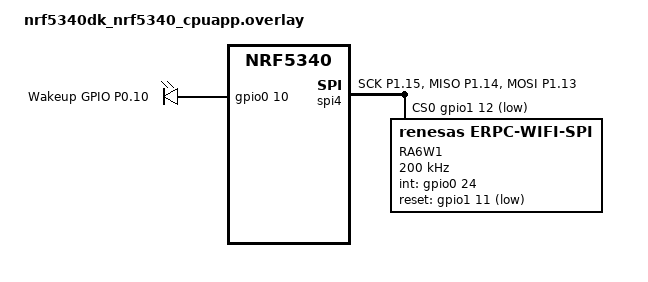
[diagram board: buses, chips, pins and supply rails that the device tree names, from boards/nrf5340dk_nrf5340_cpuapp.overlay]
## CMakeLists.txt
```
cmake_minimum_required(VERSION 3.20.0)

find_package(Zephyr)
project(pnet_multi_thread_https_zephyr_http)

target_sources(app PRIVATE
	src/pnet_multi_threaded.c
	src/https_get.c
)
```

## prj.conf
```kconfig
# Copyright (c) 2025 Renesas Electronics Corporation
# SPDX-License-Identifier: Apache-2.0

CONFIG_POSIX_API=y
CONFIG_EVENTS=y

# GPIO Configuration
CONFIG_GPIO=y

# Wi-Fi Configuration
CONFIG_WIFI=y
CONFIG_REBOOT=y
CONFIG_SHELL=y
CONFIG_SHELL_STACK_SIZE=10240

CONFIG_HEAP_MEM_POOL_SIZE=131072
CONFIG_INIT_STACKS=y
CONFIG_THREAD_STACK_INFO=y
CONFIG_STACK_CANARIES=y
CONFIG_SPIN_VALIDATE=n
# Synchronous getaddrinfo() uses this as its DNS query timeout. The default
# (2000 ms) is too short for a DPM cold-wake + eRPC/SPI + network round-trip
# (~2.4 s), which cancels the in-flight query (DNS_EAI_CANCELED = -101) just
# before the reply arrives. Give it enough budget to cover the cold wake.
CONFIG_NET_SOCKETS_DNS_TIMEOUT=10000
# Retry within that budget instead of a single long attempt.
CONFIG_NET_SOCKETS_DNS_BACKOFF_INTERVAL=5000
 
# Network Configuration
CONFIG_NETWORKING=y
CONFIG_NET_NATIVE=y
CONFIG_NET_IPV4=y
CONFIG_NET_IPV6=n
CONFIG_NET_TCP=y
CONFIG_NET_DHCPV4=y
CONFIG_DNS_RESOLVER=y
CONFIG_NET_CONFIG_SETTINGS=y
CONFIG_NET_CONFIG_AUTO_INIT=n

# Network management
CONFIG_NET_MGMT=y
CONFIG_NET_MGMT_EVENT=y
CONFIG_NET_MGMT_EVENT_INFO=y
CONFIG_NET_MGMT_EVENT_QUEUE_SIZE=10
CONFIG_NET_MGMT_EVENT_STACK_SIZE=4096
CONFIG_NET_CONNECTION_MANAGER=y

CONFIG_MAIN_STACK_SIZE=10240
CONFIG_SYSTEM_WORKQUEUE_STACK_SIZE=10240
CONFIG_WIFI_ERPC_WIFI_WORKQ_STACK_SIZE=8192
CONFIG_WIFI_ERPC_WIFI_SERVER_THREAD_STACK_SIZE=8192
CONFIG_NET_SOCKETS_SERVICE_STACK_SIZE=4096

# Network buffers
CONFIG_NET_PKT_RX_COUNT=8
CONFIG_NET_PKT_TX_COUNT=8

# L2 drivers
CONFIG_NET_L2_ETHERNET=y
CONFIG_NET_L2_WIFI_MGMT=y

# LOG — immediate mode has no buffer/thread so LOG_BUFFER_SIZE
# and LOG_PROCESS_THREAD_STACK_SIZE do not exist here.
# NET/SOCKET/KERNEL kept at WRN to avoid flooding UART and
# hiding the poll-task printks that appear before the crash.
CONFIG_LOG=y
CONFIG_LOG_MODE_IMMEDIATE=n
CONFIG_NET_LOG=n
CONFIG_WIFI_LOG_LEVEL_DBG=n
CONFIG_NET_SOCKETS_LOG_LEVEL_DBG=n
CONFIG_NET_L2_WIFI_MGMT_LOG_LEVEL_DBG=n
CONFIG_KERNEL_LOG_LEVEL_WRN=y
CONFIG_THREAD_LOCAL_STORAGE=n

# HTTPS bring-up: driver at INF. mbedTLS stays at ERR because LOG_MODE_IMMEDIATE
# makes every DBG hexdump line a synchronous UART write from the TLS thread,
# which stretched a working handshake to 21 s and tripped the HTTP timeout.
# Set MBEDTLS_DEBUG=y + MBEDTLS_LOG_LEVEL_DBG=y only to capture an alert code.
CONFIG_WIFI_LOG_LEVEL_INF=n
CONFIG_MBEDTLS_LOG_LEVEL_ERR=n
# One UART backend is enough; the shell backend duplicated every line.
CONFIG_SHELL_LOG_BACKEND=n
# ===========================================================
# MPU / FAULT DEBUG — verified buildable on nRF5340 Zephyr 4.2
# ===========================================================

# Full register + MPU fault reason on crash
CONFIG_FAULT_DUMP=2

# Hardware MPU guard page at stack bottom (catches stack overflow)
# NOTE: STACK_SENTINEL conflicts with MPU_STACK_GUARD — do not add it
CONFIG_MPU_STACK_GUARD=y
CONFIG_HW_STACK_PROTECTION=y

# Thread name + stack bounds printed in the fault dump
CONFIG_THREAD_NAME=y
CONFIG_THREAD_MONITOR=y
CONFIG_DEBUG_THREAD_INFO=y

# Catch NULL / bad-state in kernel before it reaches the MPU
CONFIG_ASSERT=y
CONFIG_ASSERT_LEVEL=2
CONFIG_ASSERT_VERBOSE=y

# Keep debug symbols — required for addr2line to give file+line
# REMOVE this after the bug is fixed (increases binary size)
# CONFIG_DEBUG_OPTIMIZATIONS=y

# Heap stats — reveals if heap returned NULL causing the deref
CONFIG_SYS_HEAP_RUNTIME_STATS=y

# NOTE: EXCEPTION_STACK_TRACE, ARM_UNWIND, COREDUMP are all
# unavailable in Zephyr 4.2.99 for nRF5340. Use addr2line instead
# (see instructions below the conf file).

CONFIG_NET_ZPERF=y
CONFIG_NET_ZPERF_SERVER=y
CONFIG_NET_ZPERF_MAX_PACKET_SIZE=2048
CONFIG_NET_UDP=y
CONFIG_NET_SOCKETS=y
CONFIG_NET_SHELL=y
CONFIG_ZVFS_POLL_MAX=10
CONFIG_ZVFS_OPEN_MAX=12

# MQTT / TLS
CONFIG_MQTT_LIB=y
CONFIG_MQTT_LIB_TLS=y
CONFIG_TLS_CREDENTIALS=y
CONFIG_NET_SOCKETS_SOCKOPT_TLS=y
CONFIG_MBEDTLS=y
 
# PEM certificate support
CONFIG_MBEDTLS_PEM_CERTIFICATE_FORMAT=y
 
# mbedTLS heap — must be large enough for ECDHE-ECDSA TLS handshake (~16 KB
# minimum; 32 KB gives comfortable headroom for certificate chain parsing).
CONFIG_MBEDTLS_ENABLE_HEAP=y
CONFIG_MBEDTLS_HEAP_SIZE=32768
 
# EC / ECDSA cipher suite support
# CA, broker cert, client cert and private key are all EC P-256 (ECDSA).
CONFIG_MBEDTLS_ECP_C=y
CONFIG_MBEDTLS_ECDH_C=y
CONFIG_MBEDTLS_ECDSA_C=y
CONFIG_MBEDTLS_ECP_DP_SECP256R1_ENABLED=y
CONFIG_MBEDTLS_KEY_EXCHANGE_ECDHE_ECDSA_ENABLED=y
# The HTTPS provisioning server may present an RSA certificate. Without these
# the only compiled-in suite is ECDHE-ECDSA and the server aborts with alert 40.
CONFIG_MBEDTLS_RSA_C=y
CONFIG_MBEDTLS_KEY_EXCHANGE_ECDHE_RSA_ENABLED=y
# Common cipher / hash primitives
CONFIG_MBEDTLS_CIPHER_AES_ENABLED=y
CONFIG_MBEDTLS_CIPHER_GCM_ENABLED=y
CONFIG_MBEDTLS_SHA256=y
CONFIG_MBEDTLS_SHA384=y
# TLS record buffer — 2 KB is sufficient for MQTT payloads over TLS.
CONFIG_MBEDTLS_SSL_MAX_CONTENT_LEN=2048

CONFIG_TEST_RANDOM_GENERATOR=y
# CONFIG_MAIN_STACK_SIZE=4096
# CONFIG_MAIN_STACK_SIZE=6144
CONFIG_MAIN_STACK_SIZE=4096

CONFIG_SHELL=y
CONFIG_SERIAL=y
CONFIG_CONSOLE=y
CONFIG_UART_CONSOLE=y
CONFIG_PRINTK=y
CONFIG_LOG=y
CONFIG_LOG_BACKEND_UART=y
CONFIG_LOG_MODE_IMMEDIATE=y

# CONFIG_SHELL_STACK_SIZE=6144
CONFIG_SHELL_STACK_SIZE=5120

# RAM tuning overrides for nrf52840 board only
# CONFIG_SYSTEM_WORKQUEUE_STACK_SIZE=6144
CONFIG_SYSTEM_WORKQUEUE_STACK_SIZE=4096
CONFIG_WIFI_ERPC_WIFI_WORKQ_STACK_SIZE=6144
CONFIG_WIFI_ERPC_WIFI_SERVER_THREAD_STACK_SIZE=6144
CONFIG_MBEDTLS_HEAP_SIZE=16384
CONFIG_HEAP_MEM_POOL_SIZE=32768


# # Enable Device PM to suspend Nordic SPIM EasyDMA during DPM
# CONFIG_PM_DEVICE=y
# CONFIG_PM_DEVICE_RUNTIME=y

CONFIG_HTTP_CLIENT=y
CONFIG_ERPC_DATA_PATH=y
CONFIG_TEST_RANDOM_GENERATOR=y
```

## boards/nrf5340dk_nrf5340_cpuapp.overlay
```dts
/*
 * Copyright (c) 2025 Renesas Electronics Corporation
 *
 * SPDX-License-Identifier: Apache-2.0
 */

/delete-node/ &qspi;
/delete-node/ &uart1;

/* Disable NFC so P0.09 and P0.10 can be used as GPIOs */
&nfct {
    status = "disabled";
};

/ {
    chosen {
        /delete-property/ zephyr,wifi;
	};

    aliases {
        wakeup-gpio = &gpio_wakeup;
    };

    gpio_wakeup {
        compatible = "gpio-leds";
        gpio_wakeup: wakeup_gpio {
           gpios = <&gpio0 10 (GPIO_ACTIVE_HIGH | GPIO_PULL_DOWN)>;
            label = "Wakeup GPIO P0.10";
        };
    };
};

&pinctrl {
    spi4_default: spi4_default {
        group1 {
            psels = <NRF_PSEL(SPIM_SCK, 1, 15)>,
                    <NRF_PSEL(SPIM_MISO, 1, 14)>,
                    <NRF_PSEL(SPIM_MOSI, 1, 13)>;
       
        };
    };
    spi4_sleep: spi4_sleep {
        group1 {
            psels = <NRF_PSEL(SPIM_SCK, 1, 15)>,
                    <NRF_PSEL(SPIM_MISO, 1, 14)>,
                    <NRF_PSEL(SPIM_MOSI, 1, 13)>;
           
            low-power-enable;
        };
    };
};

&spi4 {
    compatible = "nordic,nrf-spim";
    status = "okay";
    cs-gpios = <&gpio1 12 (GPIO_ACTIVE_LOW)>;
 
    pinctrl-0 = <&spi4_default>;
    pinctrl-1 = <&spi4_sleep>;
    pinctrl-names = "default", "sleep";
 
    ra6w1_erpc_wifi: ra6w1_erpc_wifi@0 {
        compatible = "renesas,erpc-wifi-spi";
        reg = <0>;
        label = "RA6W1";
        spi-max-frequency = <200000>;
        boot-duration-ms = <2000>;
        int-gpios = <&gpio0 24 (GPIO_ACTIVE_HIGH | GPIO_PULL_DOWN)>;
        reset-gpios = <&gpio1 11 GPIO_ACTIVE_LOW>;
        status = "okay";
    };
};
```

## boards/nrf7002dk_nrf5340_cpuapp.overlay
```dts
/*
 * Copyright (c) 2025 Renesas Electronics Corporation
 *
 * SPDX-License-Identifier: Apache-2.0
 */

/delete-node/ &qspi;
/delete-node/ &uart1;

/ {
    chosen {
        /delete-property/ zephyr,wifi;
	};
};

&pinctrl {
    spi4_default: spi4_default {
        group1 {
            psels = <NRF_PSEL(SPIM_SCK, 0, 17)>,
                    <NRF_PSEL(SPIM_MISO, 0, 14)>,
                    <NRF_PSEL(SPIM_MOSI, 0, 13)>;
        };
    };
    spi4_sleep: spi4_sleep {
        group1 {
            psels = <NRF_PSEL(SPIM_SCK, 0, 17)>,
                    <NRF_PSEL(SPIM_MISO, 0, 14)>,
                    <NRF_PSEL(SPIM_MOSI, 0, 13)>;
                    low-power-enable;
        };
    };
};

&spi4 {
    compatible = "nordic,nrf-spim";
    status = "okay";
    cs-gpios = <&gpio0 15 (GPIO_ACTIVE_LOW)>;
 
    pinctrl-0 = <&spi4_default>;
    pinctrl-1 = <&spi4_sleep>;
    pinctrl-names = "default", "sleep";
 
    ra6w1_erpc_wifi: ra6w1_erpc_wifi@0 {
        compatible = "renesas,erpc-wifi-spi";
        reg = <0>;
        label = "RA6W1";
        spi-max-frequency = <200000>;
        boot-duration-ms = <2000>;
        int-gpios = <&gpio0 9 GPIO_ACTIVE_LOW>;
        reset-gpios = <&gpio0 16 GPIO_ACTIVE_LOW>;
        status = "okay";
    };
};
```

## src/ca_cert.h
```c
#ifndef CA_CERT_H
#define CA_CERT_H

/* CA Certificate - MyLocalCA */
const unsigned char ca_pem[] = {
    0x2d, 0x2d, 0x2d, 0x2d, 0x2d, 0x42, 0x45, 0x47, 0x49, 0x4e, 0x20, 0x43,
    0x45, 0x52, 0x54, 0x49, 0x46, 0x49, 0x43, 0x41, 0x54, 0x45, 0x2d, 0x2d,
    0x2d, 0x2d, 0x2d, 0x0a, 0x4d, 0x49, 0x49, 0x44, 0x43, 0x54, 0x43, 0x43,
    0x41, 0x66, 0x47, 0x67, 0x41, 0x77, 0x49, 0x42, 0x41, 0x67, 0x49, 0x55,
    0x5a, 0x43, 0x6e, 0x58, 0x42, 0x74, 0x68, 0x6e, 0x36, 0x6b, 0x56, 0x69,
    0x53, 0x4a, 0x43, 0x7a, 0x4a, 0x34, 0x58, 0x39, 0x6d, 0x58, 0x33, 0x75,
    0x41, 0x56, 0x73, 0x77, 0x44, 0x51, 0x59, 0x4a, 0x4b, 0x6f, 0x5a, 0x49,
    0x68, 0x76, 0x63, 0x4e, 0x41, 0x51, 0x45, 0x4c, 0x0a, 0x42, 0x51, 0x41,
    0x77, 0x46, 0x44, 0x45, 0x53, 0x4d, 0x42, 0x41, 0x47, 0x41, 0x31, 0x55,
    0x45, 0x41, 0x77, 0x77, 0x4a, 0x54, 0x57, 0x46, 0x72, 0x61, 0x57, 0x56,
    0x7a, 0x49, 0x46, 0x4a, 0x68, 0x62, 0x6d, 0x52, 0x76, 0x4d, 0x42, 0x34,
    0x58, 0x44, 0x54, 0x49, 0x79, 0x4d, 0x54, 0x63, 0x77, 0x4d, 0x6a, 0x41,
    0x75, 0x4d, 0x6a, 0x63, 0x78, 0x4f, 0x43, 0x38, 0x35, 0x4d, 0x54, 0x49,
    0x78, 0x4f, 0x6a, 0x51, 0x30, 0x4f, 0x6a, 0x41, 0x77, 0x0a, 0x4d, 0x7a,
    0x63, 0x78, 0x4d, 0x6c, 0x39, 0x59, 0x45, 0x69, 0x4d, 0x77, 0x49, 0x69,
    0x42, 0x44, 0x41, 0x4e, 0x42, 0x67, 0x6b, 0x71, 0x68, 0x6b, 0x69, 0x47,
    0x39, 0x77, 0x30, 0x42, 0x41, 0x51, 0x45, 0x46, 0x41, 0x41, 0x4f, 0x43,
    0x41, 0x51, 0x38, 0x41, 0x4d, 0x49, 0x49, 0x42, 0x43, 0x67, 0x4b, 0x43,
    0x41, 0x51, 0x45, 0x41, 0x74, 0x6b, 0x35, 0x44, 0x57, 0x4c, 0x72, 0x42,
    0x55, 0x37, 0x65, 0x52, 0x65, 0x4a, 0x62, 0x2f, 0x68, 0x4a, 0x6f, 0x33,
    0x0a, 0x2b, 0x55, 0x49, 0x7a, 0x42, 0x46, 0x37, 0x73, 0x46, 0x34, 0x46,
    0x55, 0x79, 0x71, 0x6c, 0x6a, 0x55, 0x43, 0x62, 0x59, 0x61, 0x54, 0x6d,
    0x4e, 0x5a, 0x52, 0x2b, 0x56, 0x63, 0x6a, 0x4d, 0x63, 0x59, 0x4c, 0x43,
    0x6a, 0x6a, 0x6f, 0x50, 0x6f, 0x68, 0x73, 0x62, 0x37, 0x42, 0x63, 0x63,
    0x4e, 0x74, 0x6e, 0x4c, 0x73, 0x58, 0x55, 0x6c, 0x33, 0x46, 0x51, 0x50,
    0x33, 0x48, 0x37, 0x5a, 0x77, 0x79, 0x6b, 0x63, 0x6e, 0x38, 0x6a, 0x33,
    0x55, 0x30, 0x66, 0x4b, 0x32, 0x72, 0x59, 0x61, 0x5a, 0x69, 0x4c, 0x32,
    0x41, 0x2b, 0x69, 0x7a, 0x4a, 0x0a, 0x75, 0x72, 0x6a, 0x2b, 0x62, 0x38,
    0x52, 0x45, 0x48, 0x6f, 0x47, 0x38, 0x5a, 0x69, 0x57, 0x4d, 0x77, 0x6a,
    0x42, 0x4d, 0x45, 0x42, 0x77, 0x46, 0x4d, 0x70, 0x49, 0x75, 0x4d, 0x36,
    0x33, 0x5a, 0x35, 0x2b, 0x31, 0x30, 0x6f, 0x65, 0x4b, 0x30, 0x2b, 0x36,
    0x7a, 0x55, 0x62, 0x4c, 0x32, 0x65, 0x74, 0x48, 0x34, 0x71, 0x38, 0x47,
    0x42, 0x57, 0x75, 0x47, 0x34, 0x5a, 0x6c, 0x73, 0x56, 0x73, 0x45, 0x57,
    0x49, 0x30, 0x64, 0x64, 0x4b, 0x74, 0x72, 0x5a, 0x5a, 0x4f, 0x65, 0x4e,
    0x64, 0x34, 0x56, 0x68, 0x6d, 0x48, 0x73, 0x52, 0x4b, 0x6e, 0x39, 0x47,
    0x34, 0x48, 0x71, 0x36, 0x59, 0x74, 0x63, 0x4f, 0x76, 0x67, 0x61, 0x70,
    0x33, 0x58, 0x64, 0x43, 0x31, 0x53, 0x6c, 0x6d, 0x6e, 0x47, 0x4c, 0x62,
    0x4f, 0x4a, 0x66, 0x4a, 0x4f, 0x74, 0x4e, 0x4e, 0x2f, 0x53, 0x43, 0x5a,
    0x68, 0x6a, 0x0a, 0x51, 0x4a, 0x6b, 0x55, 0x49, 0x54, 0x64, 0x32, 0x2b,
    0x72, 0x31, 0x44, 0x6b, 0x49, 0x32, 0x33, 0x43, 0x4f, 0x71, 0x6c, 0x31,
    0x46, 0x6e, 0x4d, 0x70, 0x56, 0x34, 0x75, 0x51, 0x79, 0x32, 0x43, 0x56,
    0x39, 0x51, 0x78, 0x36, 0x6e, 0x72, 0x38, 0x49, 0x74, 0x76, 0x6b, 0x45,
    0x50, 0x5a, 0x7a, 0x74, 0x79, 0x35, 0x58, 0x59, 0x6d, 0x33, 0x34, 0x32,
    0x6e, 0x2f, 0x61, 0x58, 0x61, 0x61, 0x42, 0x30, 0x4a, 0x65, 0x64, 0x57,
    0x34, 0x4d, 0x6b, 0x6d, 0x57, 0x51, 0x6e, 0x68, 0x73, 0x6b, 0x57, 0x63,
    0x4a, 0x51, 0x47, 0x37, 0x6d, 0x63, 0x7a, 0x6f, 0x58, 0x78, 0x46, 0x74,
    0x74, 0x64, 0x56, 0x50, 0x38, 0x71, 0x37, 0x68, 0x46, 0x65, 0x33, 0x44,
    0x51, 0x49, 0x44, 0x41, 0x51, 0x41, 0x42, 0x6f, 0x31, 0x4d, 0x77, 0x55,
    0x51, 0x59, 0x44, 0x56, 0x52, 0x30, 0x4f, 0x45, 0x46, 0x67, 0x51, 0x55,
    0x4f, 0x66, 0x70, 0x63, 0x39, 0x4d, 0x6a, 0x50, 0x48, 0x39, 0x4e, 0x30,
    0x0a, 0x41, 0x52, 0x54, 0x59, 0x73, 0x41, 0x63, 0x49, 0x34, 0x46, 0x55,
    0x68, 0x6f, 0x65, 0x77, 0x77, 0x48, 0x77, 0x59, 0x44, 0x56, 0x52, 0x30,
    0x6a, 0x42, 0x42, 0x67, 0x77, 0x46, 0x6f, 0x41, 0x55, 0x4f, 0x66, 0x70,
    0x63, 0x39, 0x4d, 0x6a, 0x50, 0x48, 0x39, 0x4e, 0x30, 0x41, 0x52, 0x54,
    0x59, 0x73, 0x41, 0x63, 0x49, 0x34, 0x46, 0x55, 0x68, 0x6f, 0x65, 0x77,
    0x77, 0x44, 0x77, 0x59, 0x44, 0x56, 0x52, 0x30, 0x54, 0x41, 0x51, 0x48,
    0x2f, 0x42, 0x41, 0x55, 0x77, 0x41, 0x77, 0x45, 0x42, 0x2f, 0x7a, 0x41,
    0x4e, 0x42, 0x67, 0x6b, 0x71, 0x68, 0x6b, 0x69, 0x47, 0x39, 0x77, 0x30,
    0x42, 0x41, 0x51, 0x73, 0x46, 0x41, 0x41, 0x4f, 0x43, 0x41, 0x51, 0x45,
    0x41, 0x43, 0x73, 0x44, 0x77, 0x6f, 0x50, 0x2b, 0x54, 0x72, 0x4d, 0x6c,
    0x54, 0x7a, 0x6c, 0x69, 0x37, 0x63, 0x41, 0x6d, 0x75, 0x33, 0x65, 0x67,
    0x6a, 0x6b, 0x50, 0x41, 0x35, 0x59, 0x4e, 0x4b, 0x54, 0x32, 0x61, 0x5a,
    0x4e, 0x6c, 0x58, 0x79, 0x64, 0x77, 0x61, 0x34, 0x62, 0x4c, 0x68, 0x76,
    0x61, 0x73, 0x30, 0x33, 0x4c, 0x56, 0x75, 0x58, 0x75, 0x52, 0x47, 0x6c,
    0x46, 0x61, 0x6f, 0x56, 0x6c, 0x51, 0x58, 0x75, 0x68, 0x6c, 0x56, 0x6e,
    0x0a, 0x46, 0x5a, 0x44, 0x6d, 0x7a, 0x79, 0x48, 0x4d, 0x76, 0x65, 0x68,
    0x74, 0x71, 0x6b, 0x56, 0x73, 0x79, 0x33, 0x7a, 0x79, 0x38, 0x5a, 0x42,
    0x4e, 0x38, 0x4c, 0x6f, 0x57, 0x5a, 0x54, 0x2f, 0x43, 0x34, 0x62, 0x38,
    0x79, 0x54, 0x35, 0x4d, 0x6b, 0x67, 0x41, 0x55, 0x76, 0x2f, 0x56, 0x39,
    0x36, 0x57, 0x4c, 0x59, 0x66, 0x6d, 0x77, 0x2f, 0x76, 0x41, 0x43, 0x76,
    0x38, 0x6b, 0x7a, 0x36, 0x44, 0x71, 0x6a, 0x6f, 0x37, 0x50, 0x48, 0x57,
    0x68, 0x72, 0x54, 0x7a, 0x50, 0x48, 0x48, 0x70, 0x39, 0x6b, 0x79, 0x55,
    0x78, 0x78, 0x68, 0x32, 0x77, 0x52, 0x61, 0x32, 0x72, 0x35, 0x43, 0x76,
    0x58, 0x47, 0x32, 0x48, 0x68, 0x48, 0x37, 0x30, 0x39, 0x36, 0x4b, 0x34,
    0x4f, 0x4d, 0x34, 0x4f, 0x2b, 0x57, 0x73, 0x67, 0x30, 0x67, 0x4d, 0x41,
    0x63, 0x76, 0x78, 0x50, 0x70, 0x53, 0x74, 0x74, 0x6e, 0x4d, 0x72, 0x34,
    0x74, 0x4a, 0x49, 0x39, 0x38, 0x6e, 0x67, 0x42, 0x48, 0x39, 0x75, 0x34,
    0x50, 0x4f, 0x7a, 0x6f, 0x54, 0x70, 0x57, 0x33, 0x7a, 0x78, 0x66, 0x78,
    0x72, 0x61, 0x55, 0x4a, 0x6c, 0x69, 0x46, 0x51, 0x2f, 0x77, 0x32, 0x43,
    0x55, 0x4c, 0x31, 0x2b, 0x55, 0x4c, 0x4b, 0x55, 0x73, 0x6d, 0x6b, 0x75,
    0x35, 0x36, 0x4b, 0x52, 0x43, 0x42, 0x4d, 0x45, 0x39, 0x68, 0x0a, 0x53,
    0x4f, 0x6d, 0x77, 0x6c, 0x68, 0x59, 0x6f, 0x36, 0x7a, 0x62, 0x34, 0x30,
    0x45, 0x2b, 0x43, 0x58, 0x47, 0x4f, 0x47, 0x52, 0x4e, 0x4c, 0x66, 0x49,
    0x72, 0x76, 0x52, 0x32, 0x75, 0x64, 0x65, 0x6b, 0x43, 0x42, 0x39, 0x66,
    0x45, 0x73, 0x36, 0x63, 0x76, 0x6b, 0x59, 0x76, 0x78, 0x7a, 0x6b, 0x71,
    0x6c, 0x63, 0x36, 0x71, 0x6f, 0x37, 0x63, 0x57, 0x2f, 0x4e, 0x6d, 0x64,
    0x56, 0x61, 0x57, 0x6f, 0x31, 0x4c, 0x2f, 0x64, 0x57, 0x69, 0x73, 0x39,
    0x4e, 0x70, 0x56, 0x5a, 0x72, 0x59, 0x2f, 0x6a, 0x67, 0x3d, 0x3d, 0x0a,
    0x2d, 0x2d, 0x2d, 0x2d, 0x2d, 0x45, 0x4e, 0x44, 0x20, 0x43, 0x45, 0x52,
    0x54, 0x49, 0x46, 0x49, 0x43, 0x41, 0x54, 0x45, 0x2d, 0x2d, 0x2d, 0x2d,
    0x2d, 0x0a
};
const size_t ca_pem_len = sizeof(ca_pem);

/* Server Certificate */
const unsigned char client_cert_pem[] = {
    0x2d, 0x2d, 0x2d, 0x2d, 0x2d, 0x42, 0x45, 0x47, 0x49, 0x4e, 0x20, 0x43,
    0x45, 0x52, 0x54, 0x49, 0x46, 0x49, 0x43, 0x41, 0x54, 0x45, 0x2d, 0x2d,
    0x2d, 0x2d, 0x2d, 0x0a, 0x4d, 0x49, 0x49, 0x43, 0x2f, 0x54, 0x43, 0x43,
    0x41, 0x65, 0x57, 0x67, 0x41, 0x77, 0x49, 0x42, 0x41, 0x67, 0x49, 0x55,
    0x59, 0x6d, 0x4d, 0x6c, 0x6b, 0x58, 0x66, 0x2b, 0x71, 0x6e, 0x47, 0x33,
    0x58, 0x6b, 0x72, 0x2f, 0x41, 0x33, 0x6c, 0x70, 0x7a, 0x66, 0x43, 0x66,
    0x6f, 0x64, 0x63, 0x77, 0x44, 0x51, 0x59, 0x4a, 0x4b, 0x6f, 0x5a, 0x49,
    0x68, 0x76, 0x63, 0x4e, 0x41, 0x51, 0x45, 0x4c, 0x0a, 0x42, 0x51, 0x41,
    0x77, 0x46, 0x44, 0x45, 0x53, 0x4d, 0x42, 0x41, 0x47, 0x41, 0x31, 0x55,
    0x45, 0x41, 0x77, 0x77, 0x4a, 0x54, 0x57, 0x46, 0x72, 0x61, 0x57, 0x56,
    0x7a, 0x49, 0x46, 0x4a, 0x68, 0x62, 0x6d, 0x52, 0x76, 0x4d, 0x42, 0x34,
    0x58, 0x44, 0x54, 0x49, 0x79, 0x4d, 0x54, 0x63, 0x77, 0x4d, 0x6a, 0x45,
    0x75, 0x4d, 0x6a, 0x63, 0x78, 0x4f, 0x43, 0x38, 0x35, 0x4d, 0x54, 0x49,
    0x78, 0x4f, 0x6a, 0x51, 0x30, 0x4f, 0x6a, 0x41, 0x77, 0x0a, 0x4d, 0x7a,
    0x63, 0x78, 0x4d, 0x6c, 0x39, 0x59, 0x45, 0x69, 0x4d, 0x77, 0x49, 0x69,
    0x42, 0x44, 0x41, 0x4e, 0x42, 0x67, 0x6b, 0x71, 0x68, 0x6b, 0x69, 0x47,
    0x39, 0x77, 0x30, 0x42, 0x41, 0x51, 0x45, 0x46, 0x41, 0x41, 0x4f, 0x43,
    0x41, 0x51, 0x38, 0x41, 0x4d, 0x49, 0x49, 0x42, 0x43, 0x67, 0x4b, 0x43,
    0x41, 0x51, 0x45, 0x41, 0x6f, 0x6a, 0x5a, 0x78, 0x59, 0x66, 0x2f, 0x2f,
    0x47, 0x42, 0x30, 0x2b, 0x51, 0x73, 0x36, 0x47, 0x72, 0x6e, 0x75, 0x68,
    0x75, 0x35, 0x57, 0x63, 0x79, 0x49, 0x38, 0x41, 0x4f, 0x72, 0x41, 0x41,
    0x53, 0x59, 0x73, 0x57, 0x55, 0x7a, 0x73, 0x30, 0x30, 0x79, 0x4c, 0x71,
    0x4f, 0x77, 0x57, 0x55, 0x2f, 0x55, 0x6e, 0x44, 0x42, 0x35, 0x32, 0x37,
    0x4f, 0x61, 0x6c, 0x31, 0x4e, 0x58, 0x56, 0x48, 0x39, 0x74, 0x71, 0x55,
    0x50, 0x44, 0x39, 0x4d, 0x6c, 0x66, 0x63, 0x48, 0x79, 0x75, 0x41, 0x35,
    0x35, 0x4f, 0x6f, 0x4c, 0x66, 0x68, 0x35, 0x58, 0x58, 0x71, 0x47, 0x50,
    0x4b, 0x51, 0x5a, 0x79, 0x4b, 0x56, 0x70, 0x45, 0x68, 0x34, 0x0a, 0x7a,
    0x36, 0x76, 0x35, 0x2f, 0x4c, 0x76, 0x30, 0x48, 0x6c, 0x67, 0x6c, 0x4b,
    0x49, 0x48, 0x37, 0x76, 0x4d, 0x71, 0x79, 0x56, 0x4a, 0x58, 0x69, 0x6c,
    0x79, 0x69, 0x76, 0x48, 0x33, 0x57, 0x62, 0x44, 0x50, 0x36, 0x54, 0x35,
    0x4f, 0x62, 0x54, 0x70, 0x57, 0x4b, 0x64, 0x69, 0x6b, 0x45, 0x44, 0x75,
    0x65, 0x43, 0x36, 0x79, 0x73, 0x79, 0x69, 0x4b, 0x36, 0x5a, 0x7a, 0x41,
    0x67, 0x33, 0x2f, 0x49, 0x4c, 0x42, 0x70, 0x32, 0x34, 0x79, 0x33, 0x69,
    0x4e, 0x6f, 0x31, 0x72, 0x31, 0x70, 0x52, 0x70, 0x73, 0x62, 0x76, 0x4d,
    0x6e, 0x6e, 0x2f, 0x64, 0x31, 0x61, 0x2b, 0x5a, 0x4d, 0x59, 0x55, 0x4d,
    0x6e, 0x70, 0x66, 0x57, 0x62, 0x4c, 0x54, 0x49, 0x64, 0x70, 0x57, 0x2f,
    0x73, 0x62, 0x67, 0x71, 0x78, 0x48, 0x62, 0x75, 0x74, 0x67, 0x37, 0x68,
    0x4c, 0x64, 0x50, 0x70, 0x42, 0x37, 0x52, 0x70, 0x44, 0x42, 0x79, 0x2b,
    0x30, 0x4a, 0x31, 0x59, 0x48, 0x4c, 0x77, 0x54, 0x62, 0x31, 0x5a, 0x47,
    0x61, 0x68, 0x75, 0x48, 0x56, 0x68, 0x67, 0x50, 0x6b, 0x32, 0x6b, 0x47,
    0x33, 0x4b, 0x66, 0x58, 0x73, 0x47, 0x6d, 0x4c, 0x49, 0x6e, 0x4c, 0x55,
    0x48, 0x45, 0x44, 0x4f, 0x54, 0x52, 0x58, 0x47, 0x42, 0x48, 0x79, 0x34,
    0x6b, 0x61, 0x4d, 0x2f, 0x76, 0x58, 0x53, 0x64, 0x78, 0x48, 0x6f, 0x43,
    0x49, 0x67, 0x42, 0x30, 0x6c, 0x2b, 0x4a, 0x35, 0x64, 0x75, 0x47, 0x69,
    0x4f, 0x34, 0x51, 0x50, 0x2b, 0x4b, 0x66, 0x36, 0x4e, 0x37, 0x43, 0x6d,
    0x2b, 0x45, 0x6b, 0x54, 0x4e, 0x4b, 0x55, 0x4a, 0x79, 0x6f, 0x66, 0x58,
    0x75, 0x46, 0x66, 0x4b, 0x6e, 0x74, 0x57, 0x65, 0x58, 0x54, 0x42, 0x41,
    0x6a, 0x4d, 0x42, 0x41, 0x41, 0x47, 0x6a, 0x51, 0x6a, 0x42, 0x41, 0x4d,
    0x42, 0x30, 0x47, 0x41, 0x31, 0x55, 0x44, 0x44, 0x67, 0x51, 0x57, 0x42,
    0x42, 0x53, 0x71, 0x61, 0x77, 0x4b, 0x52, 0x70, 0x72, 0x72, 0x73, 0x71,
    0x76, 0x31, 0x4b, 0x65, 0x45, 0x79, 0x48, 0x42, 0x4f, 0x41, 0x31, 0x39,
    0x7a, 0x70, 0x2b, 0x4e, 0x44, 0x41, 0x66, 0x42, 0x67, 0x4e, 0x56, 0x48,
    0x53, 0x4d, 0x45, 0x47, 0x44, 0x41, 0x57, 0x67, 0x42, 0x51, 0x35, 0x2b,
    0x6c, 0x7a, 0x30, 0x79, 0x4d, 0x38, 0x66, 0x30, 0x33, 0x51, 0x42, 0x46,
    0x4e, 0x69, 0x77, 0x42, 0x77, 0x6a, 0x67, 0x56, 0x53, 0x47, 0x68, 0x37,
    0x4d, 0x44, 0x41, 0x4e, 0x42, 0x67, 0x6b, 0x71, 0x68, 0x6b, 0x69, 0x47,
    0x39, 0x77, 0x30, 0x42, 0x41, 0x51, 0x73, 0x46, 0x41, 0x41, 0x4f, 0x43,
    0x41, 0x51, 0x45, 0x41, 0x4d, 0x75, 0x47, 0x75, 0x63, 0x53, 0x64, 0x32,
    0x53, 0x61, 0x68, 0x6a, 0x59, 0x4d, 0x73, 0x4a, 0x63, 0x59, 0x63, 0x78,
    0x75, 0x46, 0x34, 0x6b, 0x4f, 0x72, 0x62, 0x49, 0x4e, 0x7a, 0x65, 0x6c,
    0x54, 0x79, 0x63, 0x34, 0x2f, 0x52, 0x67, 0x56, 0x4b, 0x73, 0x4c, 0x64,
    0x4f, 0x2f, 0x5a, 0x50, 0x6f, 0x6b, 0x45, 0x6b, 0x43, 0x6a, 0x33, 0x73,
    0x58, 0x68, 0x44, 0x63, 0x55, 0x56, 0x76, 0x57, 0x48, 0x46, 0x4f, 0x54,
    0x62, 0x79, 0x53, 0x6a, 0x6c, 0x31, 0x54, 0x74, 0x38, 0x65, 0x39, 0x4a,
    0x41, 0x4b, 0x50, 0x33, 0x77, 0x50, 0x46, 0x76, 0x65, 0x51, 0x31, 0x41,
    0x50, 0x51, 0x5a, 0x32, 0x6d, 0x4e, 0x77, 0x46, 0x63, 0x37, 0x53, 0x41,
    0x6d, 0x77, 0x45, 0x55, 0x38, 0x32, 0x6d, 0x31, 0x77, 0x54, 0x6e, 0x55,
    0x78, 0x4f, 0x67, 0x55, 0x71, 0x79, 0x37, 0x63, 0x73, 0x54, 0x41, 0x4f,
    0x72, 0x35, 0x67, 0x71, 0x4f, 0x4f, 0x34, 0x6c, 0x4f, 0x6c, 0x78, 0x38,
    0x49, 0x6f, 0x44, 0x36, 0x46, 0x52, 0x54, 0x36, 0x6a, 0x43, 0x36, 0x65,
    0x66, 0x4a, 0x6c, 0x59, 0x56, 0x53, 0x33, 0x47, 0x44, 0x77, 0x2f, 0x2f,
    0x2f, 0x70, 0x43, 0x61, 0x38, 0x43, 0x6a, 0x75, 0x47, 0x32, 0x73, 0x62,
    0x59, 0x33, 0x4e, 0x38, 0x34, 0x67, 0x31, 0x74, 0x50, 0x70, 0x77, 0x7a,
    0x2b, 0x50, 0x4c, 0x44, 0x42, 0x6c, 0x45, 0x32, 0x38, 0x58, 0x46, 0x73,
    0x57, 0x30, 0x6f, 0x64, 0x52, 0x34, 0x58, 0x2b, 0x38, 0x44, 0x66, 0x36,
    0x74, 0x5a, 0x58, 0x39, 0x57, 0x32, 0x39, 0x56, 0x77, 0x52, 0x70, 0x72,
    0x4a, 0x47, 0x64, 0x44, 0x6e, 0x34, 0x6f, 0x49, 0x44, 0x4e, 0x34, 0x54,
    0x6c, 0x5a, 0x54, 0x70, 0x55, 0x69, 0x37, 0x4c, 0x67, 0x58, 0x55, 0x37,
    0x75, 0x76, 0x4a, 0x65, 0x65, 0x71, 0x33, 0x58, 0x61, 0x6b, 0x38, 0x2f,
    0x49, 0x73, 0x6c, 0x4c, 0x36, 0x43, 0x43, 0x72, 0x54, 0x5a, 0x55, 0x4e,
    0x62, 0x53, 0x6b, 0x44, 0x6a, 0x41, 0x5a, 0x4e, 0x2b, 0x33, 0x59, 0x2b,
    0x59, 0x32, 0x45, 0x4f, 0x41, 0x45, 0x54, 0x50, 0x54, 0x69, 0x71, 0x55,
    0x2f, 0x38, 0x54, 0x30, 0x56, 0x75, 0x2b, 0x6f, 0x50, 0x6c, 0x5a, 0x6a,
    0x70, 0x71, 0x63, 0x4f, 0x2b, 0x72, 0x48, 0x2b, 0x5a, 0x36, 0x4e, 0x63,
    0x4a, 0x4b, 0x53, 0x53, 0x6e, 0x4c, 0x2f, 0x45, 0x43, 0x30, 0x71, 0x2b,
    0x6e, 0x78, 0x33, 0x62, 0x4f, 0x53, 0x70, 0x6b, 0x71, 0x41, 0x3d, 0x3d,
    0x0a, 0x2d, 0x2d, 0x2d, 0x2d, 0x2d, 0x45, 0x4e, 0x44, 0x20, 0x43, 0x45,
    0x52, 0x54, 0x49, 0x46, 0x49, 0x43, 0x41, 0x54, 0x45, 0x2d, 0x2d, 0x2d,
    0x2d, 0x2d, 0x0a
};
const size_t client_cert_pem_len = sizeof(client_cert_pem);

/* Server Private Key */
#define PRIVATE_KEY \
    "-----BEGIN PRIVATE KEY-----\n" \
    "MIIEvQIBADANBgkqhkiG9w0BAQEFAASCBKcwggSjAgEAAoIBAQCiNnFh//GB0+Qs\n" \
    "6Grnuhu5WcyI8AOrAASYsWUzs00yLqOwWU/UnDB527Oal1NXVH9tqUPD9MlfcHyu\n" \
    "A55OoLfh5XXqGPKQZyKVpEh4z6v5/Lv0HlglKIH7vMqyVJXilyivH3WbDP6T5ObT\n" \
    "pWKdikEDueC6ysyiK6ZzAg3/ILBp24y3iNo1r1pRpsbvMnn/d1a+ZMYUMnpfWbLT\n" \
    "IdpW/sbgqxHbutg7hLdPpB7RpDBy+0J1YHLwTb1ZGahuHVhgPk2kG3KfXsGmLInL\n" \
    "UHEDOTRXGBHy4kaM/vXSdxHoCIgB0l+J5duGiO4QP+Kf6N7Cm+EkTNKUJyofXuFf\n" \
    "KntWeXTBAgMBAAECggEAB0uORBdmAb4ZLQ1bUHZZ3Jc9p/tuWMyIiGLy/5Uc38jB\n" \
    "7xKHMPNAyVwwer97PapUzEZgYDHUNBz7mHpcbmITPv8qM0fhsc2XnDX+FePWEskz\n" \
    "XT5Xnb0xglQqZASClKUSbPTL3dgi410YJfTSR25CMAQWJ6Rq+VCf/Nxe64ZJdMs6\n" \
    "2oUgSMOcyu2hSMoDwFfHW/fjKTCYIlmr+NL/Znb3z8PKb/PVFvgBX2+Jtu/iTS38\n" \
    "sfDc0T/iip04KbivQ2N9QdgjUyaVffxxidWjL+WLF8gVVxrMh0+eoNhhwQ1gJHuY\n" \
    "J/j+AjopOmO+vpUzv6NSGE60iOBBgNE0IImIY6LLqQKBgQDjzCKEAffmF5HQeQsa\n" \
    "pqWA6vXLN748CMwxO3bLNNC2miJugEjpVHjn3dNSSk8MBaM/nka1P2V0ze7s1Bi7\n" \
    "euedJ3Rvb5Gp0EWw4KzVlqWMpljLM7v9AiQmshdJ+7N07gOgnKjkDw5+5xcblagt\n" \
    "BiZxES/eKgGQSFleiaBx/mAIOQKBgQC2S6ZeB1d43sT1uvN7lnxJCrqnV2vdwgtS\n" \
    "tjY/5WcBwtP4Dd6FvzP+1IaDKI1fT4QUhZodZc1MxGIMJ95gHIDg2+Zvl3kL7hjU\n" \
    "1PP4OlIk42Fc0FA9DBL6bX3K0R+9AOrXwxErsS4RssPF3x88hpcu5ivPZUpMMb9T\n" \
    "G2bYF6sAyQKBgEyjpEUnaGDYMy2hW7QGtw3tfu50/aKzDwfNSsVJKqMUrlrg/CbM\n" \
    "TbUss2kvKPMRfn/r3zwhbR/kHOs+3GdPDVeZK5pGPgqU0K2WmW9utJniaWNML4YK\n" \
    "z2DZb+5rKVBAt6W0rzmzOxxE4UhdjGxBcnN95c3n8gi53p9ozDst6t85AoGAX6Ch\n" \
    "nlPFnB9oPOucTGmtuvdI4P3oFMV1ASean7wsY+0bGtXTtF+P3A8KnQUJ3ESvKcDI\n" \
    "DsHXh3zBXlUPv2VUaiCQ6lsQYaS+G++2J7IYY0dwTKruXIfX8My9H0bCmng/uX2X\n" \
    "pU7ltt0K++LG1Q5Zgn21367n4b56+hK2yYbo6pkCgYEAjQgOs5Pxk+QevS2EPaaZ\n" \
    "3w7q6ShHBSi/6u2H//Kw2TiRGNf6JngMO8IcBSHuzhcQ5As3DAsUncsOf40fKyrU\n" \
    "4Li2TdvKCumZGx7KsCgHvRbEJqEVDqrz23xH3T6x8fYpP730eLUhpzJ5BBeIg/5Y\n" \
    "+b0aJ9dbiqqSEPBswUVj8UE=\n" \
    "-----END PRIVATE KEY-----"

#endif
```

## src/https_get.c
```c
/*
 * Phase 4 HTTPS GET — LAN provision server returns MQTT endpoint + PEM certs.
 *
 * Target: 192.168.50.243:4443 (same machine as MQTT broker).
 * Trust: TLS_PEER_VERIFY_NONE for bring-up (self-signed test server).
 *
 * JSON fields: mqtt_host, mqtt_port, mqtt_client_id,
 *              mqtt_ca_pem, mqtt_client_cert_pem, mqtt_private_key_pem
 * (PEM strings use \\n escapes). Falls back to ca_cert.h if certs absent.
 *
 * Always close the TLS socket and release any HTTPS credentials before
 * return so MQTT (sec tag 42) still has heap/credential room.
 */

#include "https_get.h"

#include <errno.h>
#include <stdio.h>
#include <stdlib.h>
#include <string.h>

#include <zephyr/kernel.h>
#include <zephyr/net/socket.h>
#include <zephyr/net/http/client.h>
#include <zephyr/net/tls_credentials.h>
#include <zephyr/posix/fcntl.h>
#include <mbedtls/ssl_ciphersuites.h>

/* Phase 2: LAN HTTPS on the MQTT broker machine */
#define HTTPS_SERVER         "192.168.50.243"
#define HTTPS_PORT           4443
#define HTTPS_PATH           "/"

#define USE_HTTPS_SERVER_IP  1
#define HTTPS_SERVER_IP      "192.168.50.243"

/* Self-signed test server — verify off for Phase 2 bring-up */
#define USE_TLS_VERIFY_NONE  1

/* Headers + JSON with three PEMs (~6–7 KiB); keep headroom. */
#define HTTP_MAX_BUFFER_SIZE 12288
/* Keep HTTPS tags clear of MQTT sec tag (42) in pnet_multi_threaded.c */
#define TLS_TAG_HTTPS_CA_CERTIFICATE 1
#define HTTPS_CLIENT_CERT_TAG        2

enum fsm_msg_id {
	MSG_ID_HTTP_REQUEST_ERROR,
	MSG_ID_HTTP_REQUEST_CONNECT_CHECK,
	MSG_ID_HTTP_REQUEST_CONNECTED,
};

struct http_request_info {
	const char *hostname;
	uint16_t port;
	const sec_tag_t *sec_tag_list;
	size_t sec_tag_count;
};

struct http_request_ctx {
	int socket;
	struct sockaddr endpoint;
	struct http_request_info *current_request;
	int connect_retries;
};

static int last_fsm_msg_id = -1;

static void fsm_node_send_message_id(int msg_id)
{
	last_fsm_msg_id = msg_id;
}

/* Same PEMs as Test_TLS_https_client/src/main.c */
static const uint8_t ca_certificate[] =
"-----BEGIN CERTIFICATE-----\n"
"MIICFDCCAbugAwIBAgIUCZCrpIUu1ZmhqPuU6P8tTf64SEMwCgYIKoZIzj0EAwIw\n"
"WDELMAkGA1UEBhMCU0UxDjAMBgNVBAgMBVNrYW5lMQ4wDAYDVQQHDAVNYWxtbzES\n"
"MBAGA1UECgwJQmVzdFN0dWZmMRUwEwYDVQQDDAxCZXN0U3R1ZmYtQ0EwHhcNMjYw\n"
"NzE0MTYzNDI4WhcNMzYwNzExMTYzNDI4WjBYMQswCQYDVQQGEwJTRTEOMAwGA1UE\n"
"CAwFU2thbmUxDjAMBgNVBAcMBU1hbG1vMRIwEAYDVQQKDAlCZXN0U3R1ZmYxFTAT\n"
"BgNVBAMMDEJlc3RTdHVmZi1DQTBZMBMGByqGSM49AgEGCCqGSM49AwEHA0IABC5v\n"
"bJYcsVzl03pmUdwa++sS3vUOZAxua/lx7Gh2Ku0AMQVh6TyFwAr7b+M/NsdtWhxh\n"
"mbz82IpzjYzAyWEGZvSjYzBhMB0GA1UdDgQWBBTI0uTHkM1kWIM1X+tvQN2/2kqC\n"
"0TAfBgNVHSMEGDAWgBTI0uTHkM1kWIM1X+tvQN2/2kqC0TAPBgNVHRMBAf8EBTAD\n"
"AQH/MA4GA1UdDwEB/wQEAwIBhjAKBggqhkjOPQQDAgNHADBEAiBM8FUSkXyNZBUG\n"
"5NeI+PYapnSuswFcQ9943Vn8IocYOQIgAy+Uv2KHsR3+NJ4ky4H4Cb9h4lZjoLR0\n"
"VVJ8Nyquflw=\n"
"-----END CERTIFICATE-----\n";

static const uint8_t device_certificate[] =
"-----BEGIN CERTIFICATE-----\n"
"MIICHzCCAcWgAwIBAgIUJpZzrn1VU511RiLZHky/CcmO1lwwCgYIKoZIzj0EAwIw\n"
"WDELMAkGA1UEBhMCU0UxDjAMBgNVBAgMBVNrYW5lMQ4wDAYDVQQHDAVNYWxtbzES\n"
"MBAGA1UECgwJQmVzdFN0dWZmMRUwEwYDVQQDDAxCZXN0U3R1ZmYtQ0EwHhcNMjYw\n"
"NzE0MTY0MjM2WhcNMjgxMDE2MTY0MjM2WjBQMQswCQYDVQQGEwJTRTEOMAwGA1UE\n"
"CAwFU2thbmUxDjAMBgNVBAcMBU1hbG1vMRIwEAYDVQQKDAlCZXN0U3R1ZmYxDTAL\n"
"BgNVBAMMBFIyRDIwWTATBgcqhkjOPQIBBggqhkjOPQMBBwNCAAQ5EExF/2rIQXJT\n"
"1eolep1SMoaTvhh48/3LqmCYqx8m7OxWDijosY7NgEYRSIJlDBrfEh6x4J6ebrPC\n"
"athXnsAzo3UwczAOBgNVHQ8BAf8EBAMCB4AwEwYDVR0lBAwwCgYIKwYBBQUHAwIw\n"
"DAYDVR0TAQH/BAIwADAdBgNVHQ4EFgQUsKY8DGXgK1ZKfswqHl5cBjQ88S8wHwYD\n"
"VR0jBBgwFoAUyNLkx5DNZFiDNV/rb0Ddv9pKgtEwCgYIKoZIzj0EAwIDSAAwRQIh\n"
"AOX8VtcoabXDHiRyBWVFvQx6CLcpMi+Ligof9E6yGRhNAiAeAqtUi1AQDaxSycD1\n"
"QiMapX6syr8HAIXRLf0+0qVrYw==\n"
"-----END CERTIFICATE-----\n";

static const uint8_t device_key[] =
"-----BEGIN EC PRIVATE KEY-----\n"
"MHcCAQEEIKooI0AOnF/8L57NdmXDD5vtC2/ol3N73LDCgRZ7uUjnoAoGCCqGSM49\n"
"AwEHoUQDQgAEORBMRf9qyEFyU9XqJXqdUjKGk74YePP9y6pgmKsfJuzsVg4o6LGO\n"
"zYBGEUiCZQwa3xIeseCenm6zwmrYV57AMw==\n"
"-----END EC PRIVATE KEY-----\n";

static int setup_https_credentials(void)
{
	int ret;

	/* Clear any leftover HTTPS tags from a previous attempt. */
	(void)tls_credential_delete(TLS_TAG_HTTPS_CA_CERTIFICATE,
				     TLS_CREDENTIAL_CA_CERTIFICATE);
	(void)tls_credential_delete(HTTPS_CLIENT_CERT_TAG,
				     TLS_CREDENTIAL_SERVER_CERTIFICATE);
	(void)tls_credential_delete(HTTPS_CLIENT_CERT_TAG,
				     TLS_CREDENTIAL_PRIVATE_KEY);

	ret = tls_credential_add(TLS_TAG_HTTPS_CA_CERTIFICATE,
				 TLS_CREDENTIAL_CA_CERTIFICATE,
				 ca_certificate, sizeof(ca_certificate));
	if (ret < 0 && ret != -EEXIST) {
		printk("[HTTPS] Failed to add CA certificate: %d\n", ret);
		return ret;
	}

	ret = tls_credential_add(HTTPS_CLIENT_CERT_TAG,
				 TLS_CREDENTIAL_SERVER_CERTIFICATE,
				 device_certificate, sizeof(device_certificate));
	if (ret < 0 && ret != -EEXIST) {
		printk("[HTTPS] Failed to register client certificate: %d\n", ret);
		return ret;
	}

	ret = tls_credential_add(HTTPS_CLIENT_CERT_TAG,
				 TLS_CREDENTIAL_PRIVATE_KEY,
				 device_key, sizeof(device_key));
	if (ret < 0 && ret != -EEXIST) {
		printk("[HTTPS] Failed to register client private key: %d\n", ret);
		return ret;
	}

	return 0;
}

/* Free HTTPS credential slots so MQTT can allocate its own (tag 42). */
static void teardown_https_credentials(void)
{
	(void)tls_credential_delete(TLS_TAG_HTTPS_CA_CERTIFICATE,
				     TLS_CREDENTIAL_CA_CERTIFICATE);
	(void)tls_credential_delete(HTTPS_CLIENT_CERT_TAG,
				     TLS_CREDENTIAL_SERVER_CERTIFICATE);
	(void)tls_credential_delete(HTTPS_CLIENT_CERT_TAG,
				     TLS_CREDENTIAL_PRIVATE_KEY);
	printk("[HTTPS] Credentials released for MQTT\n");
}

static int http_request_socket_set_blocking(int socket_id, bool blocking)
{
	int flags = zsock_fcntl(socket_id, F_GETFL, 0);

	if (flags < 0) {
		printk("[HTTPS] fcntl(F_GETFL) failed: %d (errno=%d)\n", flags, errno);
		return -errno;
	}

	int target_flags = blocking ? (flags & ~O_NONBLOCK) : (flags | O_NONBLOCK);
	int rc = zsock_fcntl(socket_id, F_SETFL, target_flags);

	if (rc < 0) {
		printk("[HTTPS] fcntl(F_SETFL, %s) failed: %d (errno=%d)\n",
		       blocking ? "BLOCKING" : "O_NONBLOCK", rc, errno);
		return -errno;
	}

	printk("[HTTPS] fcntl(F_SETFL, %s) succeeded\n",
	       blocking ? "BLOCKING" : "O_NONBLOCK");
	return 0;
}

static void http_request_set_port(struct sockaddr *endpoint, uint16_t port)
{
	if (endpoint->sa_family == AF_INET) {
		((struct sockaddr_in *)endpoint)->sin_port = htons(port);
	} else if (endpoint->sa_family == AF_INET6) {
		((struct sockaddr_in6 *)endpoint)->sin6_port = htons(port);
	}
}

static int http_request_socket_close(int socket)
{
	if (socket >= 0) {
		if (zsock_close(socket)) {
			printk("[HTTPS] Socket close failed: %d (%s)\n",
			       -errno, strerror(errno));
		}
	}
	return -1;
}

static int http_request_socket_open(struct sockaddr endpoint, const char *hostname,
				    size_t hostname_len, const sec_tag_t *sec_tag_list,
				    size_t sec_tag_count)
{
	int rc;
	int socket_id;

	if (!hostname || hostname_len == 0) {
		printk("[HTTPS] No hostname\n");
		return -EINVAL;
	}

	socket_id = zsock_socket(endpoint.sa_family, SOCK_STREAM, IPPROTO_TLS_1_2);
	if (socket_id < 0) {
		printk("[HTTPS] Failed to create socket: %d (%s)\n", -errno, strerror(errno));
		return -errno;
	}

	http_request_socket_set_blocking(socket_id, false);

	const int ciphersuites[] = {
		MBEDTLS_TLS_ECDHE_ECDSA_WITH_AES_128_GCM_SHA256,
		MBEDTLS_TLS_ECDHE_RSA_WITH_AES_128_GCM_SHA256,
		MBEDTLS_TLS1_3_AES_128_GCM_SHA256,
		MBEDTLS_TLS1_3_AES_128_CCM_SHA256,
	};

	rc = zsock_setsockopt(socket_id, SOL_TLS, TLS_CIPHERSUITE_LIST,
			      ciphersuites, sizeof(ciphersuites));
	if (rc < 0) {
		printk("[HTTPS] Failed to set ciphersuite list (%d)\n", -errno);
		goto sock_fail;
	}

	if (sec_tag_list && sec_tag_count > 0) {
		rc = zsock_setsockopt(socket_id, SOL_TLS, TLS_SEC_TAG_LIST,
				      sec_tag_list, sec_tag_count * sizeof(sec_tag_t));
		if (rc < 0) {
			printk("[HTTPS] Failed to set TLS_SEC_TAG_LIST: %d\n", -errno);
			goto sock_fail;
		}
	}

	rc = zsock_setsockopt(socket_id, SOL_TLS, TLS_HOSTNAME, hostname, hostname_len);
	if (rc < 0) {
		printk("[HTTPS] Failed to set TLS_HOSTNAME: %d\n", -errno);
		goto sock_fail;
	}

#if USE_TLS_VERIFY_NONE
	int enabled = TLS_PEER_VERIFY_NONE;
#else
	int enabled = TLS_PEER_VERIFY_REQUIRED;
#endif
	rc = zsock_setsockopt(socket_id, SOL_TLS, TLS_PEER_VERIFY, &enabled, sizeof(enabled));
	if (rc < 0) {
		printk("[HTTPS] Failed to set TLS_PEER_VERIFY: %d\n", -errno);
		goto sock_fail;
	}

	return socket_id;

sock_fail:
	zsock_close(socket_id);
	return -errno;
}

static int s_http_request_socket_connect_entry(struct http_request_ctx *ctx)
{
	if (!ctx->current_request) {
		printk("[HTTPS] No current request\n");
		fsm_node_send_message_id(MSG_ID_HTTP_REQUEST_ERROR);
		return 0;
	}

	ctx->connect_retries++;
	http_request_set_port(&ctx->endpoint, ctx->current_request->port);

	ctx->socket = http_request_socket_close(ctx->socket);
	ctx->socket = http_request_socket_open(ctx->endpoint,
					       ctx->current_request->hostname,
					       strlen(ctx->current_request->hostname) + 1,
					       ctx->current_request->sec_tag_list,
					       ctx->current_request->sec_tag_count);

	if (ctx->socket < 0) {
		printk("[HTTPS] Failed to setup socket: %d\n", ctx->socket);
		fsm_node_send_message_id(MSG_ID_HTTP_REQUEST_ERROR);
		return 0;
	}

	printk("[HTTPS] Connect to socket <%d> on endpoint <%s>\n",
	       ctx->socket, ctx->current_request->hostname);

	socklen_t addrlen = (ctx->endpoint.sa_family == AF_INET6) ?
			    sizeof(struct sockaddr_in6) : sizeof(struct sockaddr_in);
	int rc = zsock_connect(ctx->socket, &ctx->endpoint, addrlen);

	if (rc < 0) {
		if (errno == EINPROGRESS) {
			printk("[HTTPS] Connecting (EINPROGRESS)...\n");
			fsm_node_send_message_id(MSG_ID_HTTP_REQUEST_CONNECT_CHECK);
		} else {
			printk("[HTTPS] Connect failed: %d (%s)\n", errno, strerror(errno));
			fsm_node_send_message_id(MSG_ID_HTTP_REQUEST_ERROR);
		}
	} else {
		fsm_node_send_message_id(MSG_ID_HTTP_REQUEST_CONNECT_CHECK);
	}

	return 0;
}

static int s_http_request_socket_connection_check_entry(struct http_request_ctx *ctx)
{
	struct zsock_pollfd pfd = {
		.fd = ctx->socket,
		.events = ZSOCK_POLLOUT,
	};

	ctx->connect_retries++;

	int rc = zsock_poll(&pfd, 1, -1);

	if (rc > 0 && (pfd.revents & ZSOCK_POLLOUT)) {
		int error = 0;
		socklen_t len = sizeof(error);

		rc = zsock_getsockopt(ctx->socket, SOL_SOCKET, SO_ERROR, &error, &len);
		if (rc == 0 && error == 0) {
			printk("[HTTPS] Socket (%d) connected\n", ctx->socket);
			fsm_node_send_message_id(MSG_ID_HTTP_REQUEST_CONNECTED);
			return 0;
		}
		printk("[HTTPS] Socket error: %d (SO_ERROR: %d)\n", rc, error);
		fsm_node_send_message_id(MSG_ID_HTTP_REQUEST_ERROR);
	}

	return 0;
}

static const sec_tag_t https_sec_tag_list[] = {
	TLS_TAG_HTTPS_CA_CERTIFICATE,
	HTTPS_CLIENT_CERT_TAG,
};

/*
 * Expected JSON (Phase 4):
 * {"mqtt_host":"...","mqtt_port":8883,"mqtt_client_id":"...",
 *  "mqtt_ca_pem":"-----BEGIN CERTIFICATE-----\\n...\\n-----END...\\n",
 *  "mqtt_client_cert_pem":"...",
 *  "mqtt_private_key_pem":"..."}
 */
static bool json_find_string_value(const char *json, const char *key,
				   const char **val_start, const char **val_end)
{
	char needle[48];
	const char *p;
	const char *end;

	if (json == NULL || key == NULL || val_start == NULL || val_end == NULL) {
		return false;
	}

	snprintk(needle, sizeof(needle), "\"%s\"", key);
	p = strstr(json, needle);
	if (p == NULL) {
		return false;
	}
	p = strchr(p + strlen(needle), ':');
	if (p == NULL) {
		return false;
	}
	p++;
	while (*p == ' ' || *p == '\t' || *p == '\r' || *p == '\n') {
		p++;
	}
	if (*p != '"') {
		return false;
	}
	p++;
	end = p;
	while (*end != '\0') {
		if (*end == '\\' && end[1] != '\0') {
			end += 2;
			continue;
		}
		if (*end == '"') {
			*val_start = p;
			*val_end = end;
			return true;
		}
		end++;
	}
	return false;
}

/* Copy JSON string value and unescape \\n \\r \\t \\\" \\\\ */
static bool json_copy_string_field(const char *json, const char *key,
				   char *out, size_t out_len)
{
	const char *p;
	const char *end;
	size_t o = 0;

	if (out == NULL || out_len == 0U) {
		return false;
	}
	if (!json_find_string_value(json, key, &p, &end)) {
		return false;
	}

	while (p < end) {
		char c;

		if (*p == '\\' && (p + 1) < end) {
			p++;
			switch (*p) {
			case 'n':
				c = '\n';
				break;
			case 'r':
				c = '\r';
				break;
			case 't':
				c = '\t';
				break;
			case '"':
			case '\\':
			case '/':
				c = *p;
				break;
			default:
				c = *p;
				break;
			}
			p++;
		} else {
			c = *p++;
		}
		if (o + 1U >= out_len) {
			return false;
		}
		out[o++] = c;
	}
	out[o] = '\0';
	return o > 0U;
}

static bool json_copy_u16_field(const char *json, const char *key, uint16_t *out)
{
	char needle[48];
	const char *p;
	unsigned long v;
	char *endptr;

	if (json == NULL || key == NULL || out == NULL) {
		return false;
	}

	snprintk(needle, sizeof(needle), "\"%s\"", key);
	p = strstr(json, needle);
	if (p == NULL) {
		return false;
	}
	p = strchr(p + strlen(needle), ':');
	if (p == NULL) {
		return false;
	}
	p++;
	while (*p == ' ' || *p == '\t') {
		p++;
	}
	v = strtoul(p, &endptr, 10);
	if (endptr == p || v == 0UL || v > 65535UL) {
		return false;
	}
	*out = (uint16_t)v;
	return true;
}

static const char *http_body_start(const char *resp)
{
	const char *p;

	if (resp == NULL) {
		return NULL;
	}
	p = strstr(resp, "\r\n\r\n");
	if (p != NULL) {
		return p + 4;
	}
	p = strstr(resp, "\n\n");
	if (p != NULL) {
		return p + 2;
	}
	return NULL;
}

static bool parse_mqtt_cfg_from_http(const char *resp, struct https_mqtt_cfg *cfg)
{
	const char *body;

	if (cfg == NULL) {
		return false;
	}

	memset(cfg, 0, sizeof(*cfg));
	body = http_body_start(resp);
	if (body == NULL || *body == '\0') {
		printk("[HTTPS] No HTTP body to parse\n");
		return false;
	}

	printk("[HTTPS] Body len=%u (certs not logged)\n", (unsigned)strlen(body));

	if (!json_copy_string_field(body, "mqtt_host", cfg->host, sizeof(cfg->host))) {
		printk("[HTTPS] Missing mqtt_host\n");
		return false;
	}
	if (!json_copy_u16_field(body, "mqtt_port", &cfg->port)) {
		printk("[HTTPS] Missing mqtt_port\n");
		return false;
	}
	if (!json_copy_string_field(body, "mqtt_client_id", cfg->client_id,
				    sizeof(cfg->client_id))) {
		printk("[HTTPS] Missing mqtt_client_id\n");
		return false;
	}

	cfg->valid = true;
	printk("[HTTPS] Parsed MQTT cfg: %s:%u id=%s\n",
	       cfg->host, cfg->port, cfg->client_id);

	/* Phase 4 PEMs — optional; MQTT falls back to ca_cert.h if missing. */
	if (json_copy_string_field(body, "mqtt_ca_pem", cfg->ca_pem,
				   sizeof(cfg->ca_pem)) &&
	    json_copy_string_field(body, "mqtt_client_cert_pem",
				   cfg->client_cert_pem,
				   sizeof(cfg->client_cert_pem)) &&
	    json_copy_string_field(body, "mqtt_private_key_pem",
				   cfg->private_key_pem,
				   sizeof(cfg->private_key_pem))) {
		cfg->ca_pem_len = strlen(cfg->ca_pem);
		cfg->client_cert_pem_len = strlen(cfg->client_cert_pem);
		cfg->private_key_pem_len = strlen(cfg->private_key_pem);
		/* tls_credential_add expects length including NUL for PEM text. */
		cfg->ca_pem_len++;
		cfg->client_cert_pem_len++;
		cfg->private_key_pem_len++;
		cfg->certs_valid = true;
		printk("[HTTPS] Parsed MQTT PEMs: ca=%u client=%u key=%u\n",
		       (unsigned)cfg->ca_pem_len,
		       (unsigned)cfg->client_cert_pem_len,
		       (unsigned)cfg->private_key_pem_len);
	} else {
		printk("[HTTPS] MQTT PEMs missing — will use flash defaults\n");
	}

	return true;
}

static char response_buffer[HTTP_MAX_BUFFER_SIZE];

static void zephyr_http_cb(struct http_response *rsp,
                           enum http_final_call final_data,
                           void *user_data)
{
	int *total_recv = (int *)user_data;

	if (rsp->data_len > 0 && total_recv != NULL) {
		int space = (int)sizeof(response_buffer) - 1 - *total_recv;

		if (space > 0) {
			int copy_len = MIN((int)rsp->data_len, space);

			memcpy(response_buffer + *total_recv, rsp->recv_buf, copy_len);
			*total_recv += copy_len;
			response_buffer[*total_recv] = '\0';
		}
	}
}

int https_phase1_get(struct https_mqtt_cfg *cfg)
{
	static char request_buffer[512];
	struct http_request_ctx ctx = {
		.socket = -1,
		.connect_retries = 0,
	};
	int ret = 0;
	bool creds_loaded = false;
	int total_recv = 0;

	if (cfg != NULL) {
		memset(cfg, 0, sizeof(*cfg));
	}

	printk("[HTTPS] Phase 4 GET %s:%d%s (verify=%s)\n",
	       HTTPS_SERVER, HTTPS_PORT, HTTPS_PATH,
	       USE_TLS_VERIFY_NONE ? "none" : "required");

#if !USE_TLS_VERIFY_NONE
	ret = setup_https_credentials();
	if (ret < 0) {
		goto out;
	}
	creds_loaded = true;

	struct http_request_info req_info = {
		.hostname = HTTPS_SERVER,
		.port = HTTPS_PORT,
		.sec_tag_list = https_sec_tag_list,
		.sec_tag_count = ARRAY_SIZE(https_sec_tag_list),
	};
#else
	/* Bring-up: no CA/client certs; peer verify disabled. */
	struct http_request_info req_info = {
		.hostname = HTTPS_SERVER,
		.port = HTTPS_PORT,
		.sec_tag_list = NULL,
		.sec_tag_count = 0,
	};
#endif

	ctx.current_request = &req_info;
	memset(&ctx.endpoint, 0, sizeof(ctx.endpoint));
	ctx.endpoint.sa_family = AF_INET;
	struct sockaddr_in *sin = (struct sockaddr_in *)&ctx.endpoint;

#if USE_HTTPS_SERVER_IP
	if (zsock_inet_pton(AF_INET, HTTPS_SERVER_IP, &sin->sin_addr) != 1) {
		printk("[HTTPS] Invalid server IP: %s\n", HTTPS_SERVER_IP);
		ret = -EINVAL;
		goto out;
	}
	printk("[HTTPS] Using literal IP %s (DNS skipped)\n", HTTPS_SERVER_IP);
#else
	struct zsock_addrinfo hints = {
		.ai_family = AF_INET,
		.ai_socktype = SOCK_STREAM,
		.ai_protocol = IPPROTO_TCP,
	};
	struct zsock_addrinfo *res = NULL;

	ret = zsock_getaddrinfo(HTTPS_SERVER, NULL, &hints, &res);
	if (ret < 0 || res == NULL) {
		printk("[HTTPS] DNS resolution failed: %d\n", ret);
		ret = -EHOSTUNREACH;
		goto out;
	}
	memcpy(&sin->sin_addr, &((struct sockaddr_in *)res->ai_addr)->sin_addr,
	       sizeof(struct in_addr));
	zsock_freeaddrinfo(res);
#endif

	last_fsm_msg_id = -1;
	s_http_request_socket_connect_entry(&ctx);

	if (last_fsm_msg_id == MSG_ID_HTTP_REQUEST_ERROR) {
		printk("[HTTPS] Connect entry returned error\n");
		ret = -EIO;
		goto out;
	}

	int timeout_ms = 10000;
	int elapsed_ms = 0;

	while (last_fsm_msg_id != MSG_ID_HTTP_REQUEST_CONNECTED &&
	       last_fsm_msg_id != MSG_ID_HTTP_REQUEST_ERROR &&
	       elapsed_ms < timeout_ms) {
		s_http_request_socket_connection_check_entry(&ctx);
		k_msleep(100);
		elapsed_ms += 100;
	}

	if (last_fsm_msg_id == MSG_ID_HTTP_REQUEST_ERROR) {
		printk("[HTTPS] Connection check reported error\n");
		ret = -ECONNABORTED;
		goto out;
	}

	if (last_fsm_msg_id != MSG_ID_HTTP_REQUEST_CONNECTED) {
		printk("[HTTPS] Connection check timed out or failed\n");
		ret = -ETIMEDOUT;
		goto out;
	}

	printk("[HTTPS] TLS connected — switching socket to blocking mode for Zephyr internal http_client_req()\n");
	http_request_socket_set_blocking(ctx.socket, true);

	static uint8_t http_chunk_buf[1024];
	total_recv = 0;
	memset(response_buffer, 0, sizeof(response_buffer));

	struct http_request req = { 0 };
	req.method = HTTP_GET;
	req.url = HTTPS_PATH;
	req.host = HTTPS_SERVER;
	req.protocol = "HTTP/1.1";
	req.response = zephyr_http_cb;
	req.recv_buf = http_chunk_buf;
	req.recv_buf_len = sizeof(http_chunk_buf);

	int http_rc = http_client_req(ctx.socket, &req, 5000, &total_recv);

	if (http_rc < 0) {
		printk("[HTTPS] Zephyr http_client_req failed: %d\n", http_rc);
		ret = http_rc;
		goto out;
	}

	if (total_recv <= 0) {
		printk("[HTTPS] Server closed connection without a response\n");
		ret = -ENOTCONN;
		goto out;
	}

	response_buffer[total_recv] = '\0';
	printk("[HTTPS] Response received (%d bytes):\n%s\n",
	       total_recv, response_buffer);

	if (cfg != NULL) {
		if (!parse_mqtt_cfg_from_http(response_buffer, cfg)) {
			printk("[HTTPS] MQTT cfg parse failed (MQTT will use defaults)\n");
		}
	}

	ret = 0;
	printk("[HTTPS] Phase 4 GET completed successfully using Zephyr http_client_req()\n");

out:
	ctx.socket = http_request_socket_close(ctx.socket);

	if (creds_loaded) {
		teardown_https_credentials();
	}

	k_msleep(200);

	return ret;
}
```
